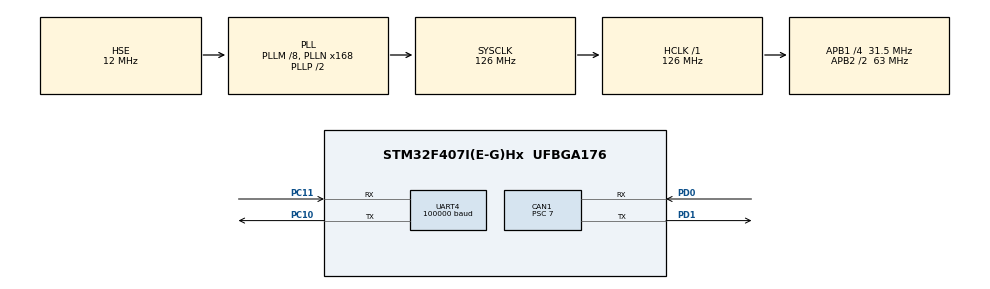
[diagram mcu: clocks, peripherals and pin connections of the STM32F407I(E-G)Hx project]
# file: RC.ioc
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CAN1.BS1=CAN_BS1_2TQ
CAN1.BS2=CAN_BS2_3TQ
CAN1.CalculateBaudRate=749999
CAN1.CalculateTimeBit=1333
CAN1.CalculateTimeQuantum=222.22222222222223
CAN1.Prescaler=7
Dma.Request0=UART4_RX
Dma.Request1=UART4_TX
Dma.UART4_RX.0.Direction=DMA_PERIPH_TO_MEMORY
Dma.UART4_RX.0.FIFOMode=DMA_FIFOMODE_DISABLE
Dma.UART4_RX.0.Instance=DMA1_Stream2
Dma.UART4_RX.0.MemDataAlignment=DMA_MDATAALIGN_BYTE
Dma.UART4_RX.0.MemInc=DMA_MINC_ENABLE
Dma.UART4_RX.0.Mode=DMA_NORMAL
Dma.UART4_RX.0.PeriphDataAlignment=DMA_PDATAALIGN_BYTE
Dma.UART4_RX.0.PeriphInc=DMA_PINC_DISABLE
Dma.UART4_RX.0.Priority=DMA_PRIORITY_LOW
Dma.UART4_TX.1.Direction=DMA_MEMORY_TO_PERIPH
Dma.UART4_TX.1.FIFOMode=DMA_FIFOMODE_DISABLE
Dma.UART4_TX.1.Instance=DMA1_Stream4
Dma.UART4_TX.1.MemDataAlignment=DMA_MDATAALIGN_BYTE
Dma.UART4_TX.1.MemInc=DMA_MINC_ENABLE
Dma.UART4_TX.1.Mode=DMA_NORMAL
Dma.UART4_TX.1.PeriphDataAlignment=DMA_PDATAALIGN_BYTE
Dma.UART4_TX.1.PeriphInc=DMA_PINC_DISABLE
Dma.UART4_TX.1.Priority=DMA_PRIORITY_LOW
Mcu.Family=STM32F4
Mcu.Name=STM32F407I(E-G)Hx
Mcu.Package=UFBGA176
NVIC.CAN1_RX0_IRQn=true\:0\:0\:true\:false\:true\:true\:true\:true
NVIC.DMA1_Stream2_IRQn=true\:2\:0\:true\:false\:true\:false\:true\:true
NVIC.DMA1_Stream4_IRQn=true\:0\:0\:false\:false\:true\:false\:true\:true
NVIC.PriorityGroup=NVIC_PRIORITYGROUP_4
NVIC.UART4_IRQn=true\:1\:0\:true\:false\:true\:true\:true\:true
PA13.Mode=Serial_Wire
PA13.Signal=SYS_JTMS-SWDIO
PA14.Mode=Serial_Wire
PA14.Signal=SYS_JTCK-SWCLK
PC10.Mode=Asynchronous
PC10.Signal=UART4_TX
PC11.Mode=Asynchronous
PC11.Signal=UART4_RX
PC14-OSC32_IN.Mode=LSE-External-Oscillator
PC14-OSC32_IN.Signal=RCC_OSC32_IN
PC15-OSC32_OUT.Mode=LSE-External-Oscillator
PC15-OSC32_OUT.Signal=RCC_OSC32_OUT
PD0.Mode=CAN_Activate
PD0.Signal=CAN1_RX
PD1.Mode=CAN_Activate
PD1.Signal=CAN1_TX
PH0-OSC_IN.Mode=HSE-External-Oscillator
PH0-OSC_IN.Signal=RCC_OSC_IN
PH1-OSC_OUT.Mode=HSE-External-Oscillator
PH1-OSC_OUT.Signal=RCC_OSC_OUT
ProjectManager.HeapSize=0x200
ProjectManager.StackSize=0x400
ProjectManager.TargetToolchain=MDK-ARM V5.27
RCC.48MHZClocksFreq_Value=63000000
RCC.AHBFreq_Value=126000000
RCC.APB1CLKDivider=RCC_HCLK_DIV4
RCC.APB1Freq_Value=31500000
RCC.APB1TimFreq_Value=63000000
RCC.APB2CLKDivider=RCC_HCLK_DIV2
RCC.APB2Freq_Value=63000000
RCC.APB2TimFreq_Value=126000000
RCC.CortexFreq_Value=126000000
RCC.HCLKFreq_Value=126000000
RCC.HSE_VALUE=12000000
RCC.HSI_VALUE=16000000
RCC.PLLM=8
RCC.PLLN=168
RCC.PLLSourceVirtual=RCC_PLLSOURCE_HSE
RCC.SYSCLKFreq_VALUE=126000000
RCC.SYSCLKSource=RCC_SYSCLKSOURCE_PLLCLK
RCC.VCOOutputFreq_Value=252000000
UART4.BaudRate=100000
UART4.Parity=PARITY_ODD
UART4.StopBits=UART_STOPBITS_1
UART4.VirtualMode=Asynchronous
board=custom

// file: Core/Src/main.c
/* USER CODE BEGIN Header */
/**
  ******************************************************************************
  * @file           : main.c
  * @brief          : Main program body
  ******************************************************************************
  * @attention
  *
  * <h2><center>&copy; Copyright (c) 2023 STMicroelectronics.
  * All rights reserved.</center></h2>
  *
  * This software component is licensed by ST under BSD 3-Clause license,
  * the "License"; You may not use this file except in compliance with the
  * License. You may obtain a copy of the License at:
  *                        opensource.org/licenses/BSD-3-Clause
  *
  ******************************************************************************
  */
/* USER CODE END Header */
#include "main.h"
#include "can.h"
#include "dma.h"
#include "usart.h"
#include "gpio.h"

/* USER CODE BEGIN Includes */
#include  "rc.h"
#include  "bsp_can.h"
#include  "pid.h"
/* USER CODE END Includes */

/* USER CODE BEGIN PM */
void HAL_UART_RxCpltCallback(UART_HandleTypeDef *huart)
{
    if(huart == &huart4)
    {
			__HAL_UART_CLEAR_IDLEFLAG(&huart4);
			HAL_UART_Transmit_DMA (&huart4,data,25);
			Sbus_DataDecode(&RC,data,channel);
			Sbus_DataCheck(&RC);
			Sbus_DataAnalyze(&RC,channel);
			HAL_UART_Receive_DMA(&huart4, data, 25);
    }
}
/* USER CODE END PM */

/* USER CODE BEGIN PV */
extern moto_info_t motor_yaw_info;
extern uint8_t data[25];
extern _rc RC;
extern uint16_t channel[18];
/* USER CODE END PV */

void SystemClock_Config(void);

int main(void)
{

  /* MCU Configuration--------------------------------------------------------*/

  /* Reset of all peripherals, Initializes the Flash interface and the Systick. */
  HAL_Init();

  /* Configure the system clock */
  SystemClock_Config();

  /* Initialize all configured peripherals */
  MX_GPIO_Init();
  MX_DMA_Init();
  MX_UART4_Init();
  MX_CAN1_Init();
  /* USER CODE BEGIN 2 */
  __HAL_UART_ENABLE_IT(&huart4, UART_IT_IDLE);
  HAL_UART_Receive_DMA(&huart4, data, 25);
   can_filter_init();
	 //pid_init(&(motor_yaw_info.angle_pid),10,0.025,20,0,3000);
	 //pid_init(&(motor_yaw_info.speed_pid),1,0,0,0,300);
  /* USER CODE END 2 */

  /* Infinite loop */
  /* USER CODE BEGIN WHILE */
  while (1)
  {
		Motor_CascadeSend(&motor_yaw_info);
		motor_yaw_info.real_angle=(motor_yaw_info.rotor_angle)/8191*360+360;
		HAL_Delay(100);
    /* USER CODE END WHILE */

  }
}

void SystemClock_Config(void)
{
  RCC_OscInitTypeDef RCC_OscInitStruct = {0};
  RCC_ClkInitTypeDef RCC_ClkInitStruct = {0};

  /** Configure the main internal regulator output voltage
  */
  __HAL_RCC_PWR_CLK_ENABLE();
  __HAL_PWR_VOLTAGESCALING_CONFIG(PWR_REGULATOR_VOLTAGE_SCALE1);

  /** Initializes the RCC Oscillators according to the specified parameters
  * in the RCC_OscInitTypeDef structure.
  */
  RCC_OscInitStruct.OscillatorType = RCC_OSCILLATORTYPE_HSE;
  RCC_OscInitStruct.HSEState = RCC_HSE_ON;
  RCC_OscInitStruct.PLL.PLLState = RCC_PLL_ON;
  RCC_OscInitStruct.PLL.PLLSource = RCC_PLLSOURCE_HSE;
  RCC_OscInitStruct.PLL.PLLM = 8;
  RCC_OscInitStruct.PLL.PLLN = 168;
  RCC_OscInitStruct.PLL.PLLP = RCC_PLLP_DIV2;
  RCC_OscInitStruct.PLL.PLLQ = 4;
  if (HAL_RCC_OscConfig(&RCC_OscInitStruct) != HAL_OK)
  {
    Error_Handler();
  }

  /** Initializes the CPU, AHB and APB buses clocks
  */
  RCC_ClkInitStruct.ClockType = RCC_CLOCKTYPE_HCLK|RCC_CLOCKTYPE_SYSCLK
                              |RCC_CLOCKTYPE_PCLK1|RCC_CLOCKTYPE_PCLK2;
  RCC_ClkInitStruct.SYSCLKSource = RCC_SYSCLKSOURCE_PLLCLK;
  RCC_ClkInitStruct.AHBCLKDivider = RCC_SYSCLK_DIV1;
  RCC_ClkInitStruct.APB1CLKDivider = RCC_HCLK_DIV4;
  RCC_ClkInitStruct.APB2CLKDivider = RCC_HCLK_DIV2;

  if (HAL_RCC_ClockConfig(&RCC_ClkInitStruct, FLASH_LATENCY_4) != HAL_OK)
  {
    Error_Handler();
  }
}

void Error_Handler(void)
{
  __disable_irq();
  while (1)
  {
  }
}
